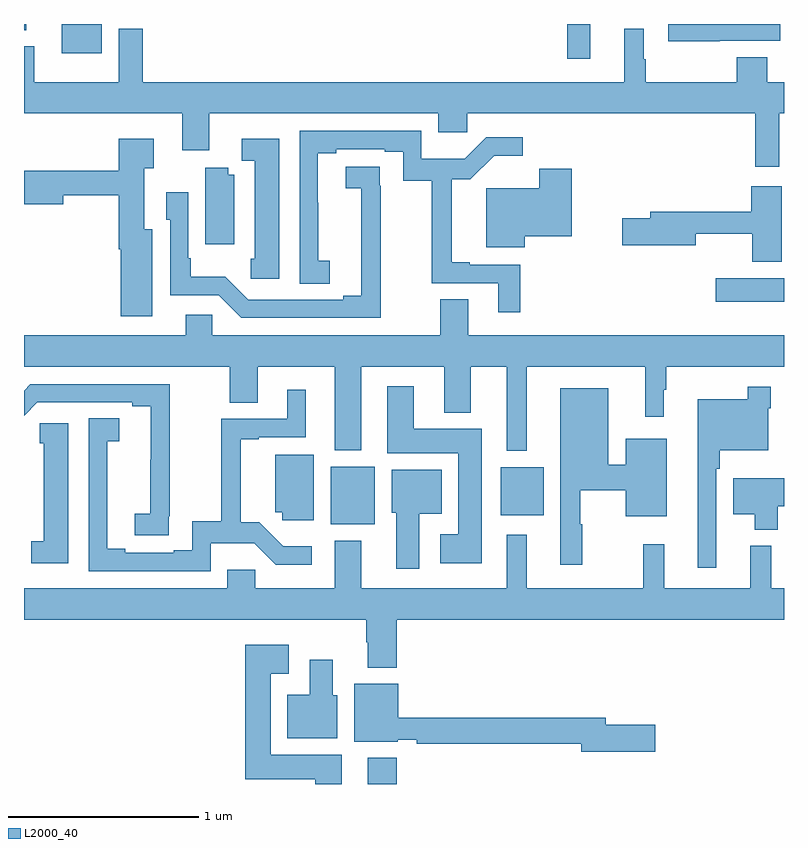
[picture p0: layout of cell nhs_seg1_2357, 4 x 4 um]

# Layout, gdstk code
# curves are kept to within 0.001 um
import gdstk
lib = gdstk.Library(unit=1e-6, precision=1e-09)
def R(c, l, rs):  # rectangles x0, y0, x1, y1
    for r in rs: c.add(gdstk.rectangle(r[:2], r[2:], *l))
def P(c, l, *ps):  # polygons
    for p in ps: c.add(gdstk.Polygon(p, *l))
L2000_40 = (2000, 40)

nhs_seg1_2357 = lib.new_cell('nhs_seg1_2357')
R(nhs_seg1_2357, L2000_40, [(240.809,552.199,240.962,552.337), (240.614,553.565,240.847,553.87), (241.508,553.613,241.735,553.867), (241.86,556.017,241.981,556.199), (239.198,556.046,239.41,556.199), (239,556.166,239.011,556.199)])
P(nhs_seg1_2357, L2000_40, [(242.663,556.11),(242.979,556.11),(242.979,556.199),(242.391,556.199),(242.391,556.109),(242.663,556.109)],
  [(242.974,555.728),(243,555.728),(243,555.892),(242.912,555.892),(242.912,556.025),(242.752,556.025),(242.752,555.892),(242.273,555.892),(242.273,556.013),(242.263,556.013),(242.263,556.174),(242.159,556.174),(242.159,555.892),(239.624,555.892),(239.624,556.174),(239.498,556.174),(239.498,555.892),(239.053,555.892),(239.053,556.081),(239,556.081),(239,555.728),(239.834,555.728),(239.834,555.534),(239.974,555.534),(239.974,555.728),(241.181,555.728),(241.181,555.63),(241.333,555.63),(241.333,555.728),(242.849,555.728),(242.849,555.447),(242.974,555.447)],
  [(241.613,554.931),(241.345,554.931),(241.345,554.944),(241.25,554.944),(241.25,555.381),(241.349,555.381),(241.475,555.506),(241.624,555.506),(241.624,555.603),(241.434,555.603),(241.321,555.49),(241.092,555.49),(241.092,555.636),(240.45,555.636),(240.45,554.833),(240.61,554.833),(240.61,554.953),(240.549,554.953),(240.549,555.257),(240.547,555.257),(240.547,555.52),(240.643,555.52),(240.643,555.54),(240.899,555.54),(240.899,555.526),(240.996,555.526),(240.996,555.373),(241.147,555.373),(241.147,554.835),(241.496,554.835),(241.496,554.682),(241.613,554.682)],
  [(240.343,555.595),(240.147,555.595),(240.147,555.48),(240.215,555.48),(240.215,554.964),(240.193,554.964),(240.193,554.859),(240.343,554.859)],
  [(239.674,555.118),(239.632,555.118),(239.632,555.439),(239.683,555.439),(239.683,555.595),(239.498,555.595),(239.498,555.427),(239,555.427),(239,555.251),(239.206,555.251),(239.206,555.298),(239.498,555.298),(239.498,555.014),(239.51,555.014),(239.51,554.661),(239.674,554.661)],
  [(240.878,555.347),(240.872,555.347),(240.872,555.449),(240.693,555.449),(240.693,555.334),(240.775,555.334),(240.776,554.768),(240.68,554.768),(240.68,554.748),(240.18,554.748),(240.059,554.869),(239.878,554.869),(239.878,554.965),(239.865,554.965),(239.865,555.313),(239.748,555.313),(239.748,555.168),(239.769,555.168),(239.769,554.772),(240.024,554.772),(240.144,554.652),(240.878,554.652)],
  [(240.106,555.406),(240.074,555.406),(240.074,555.443),(239.954,555.443),(239.954,555.039),(240.106,555.039)],
  [(241.636,555.083),(241.883,555.083),(241.883,555.436),(241.712,555.436),(241.712,555.334),(241.433,555.334),(241.433,555.023),(241.636,555.023)],
  [(242.989,555.346),(242.828,555.346),(242.828,555.212),(242.297,555.212),(242.297,555.176),(242.148,555.176),(242.148,555.034),(242.536,555.034),(242.536,555.094),(242.833,555.094),(242.833,554.947),(242.989,554.947)],
  [(243,554.862),(242.862,554.862),(242.862,554.86),(242.64,554.86),(242.64,554.738),(243,554.738)],
  [(241.192,554.75),(241.192,554.56),(239.991,554.56),(239.991,554.67),(239.852,554.67),(239.852,554.56),(239,554.56),(239,554.396),(240.082,554.396),(240.082,554.206),(240.229,554.206),(240.229,554.396),(240.635,554.396),(240.635,553.955),(240.775,553.955),(240.775,554.396),(241.211,554.396),(241.211,554.153),(241.351,554.153),(241.351,554.396),(241.541,554.396),(241.541,553.952),(241.645,553.952),(241.645,554.396),(242.27,554.396),(242.27,554.133),(242.368,554.133),(242.368,554.273),(242.38,554.273),(242.38,554.396),(243,554.396),(243,554.56),(241.339,554.56),(241.339,554.75)],
  [(239.762,553.609),(239.768,553.609),(239.768,554.304),(239.034,554.304),(239,554.27),(239,554.138),(239.07,554.208),(239.57,554.208),(239.57,554.188),(239.666,554.188),(239.665,553.622),(239.583,553.622),(239.583,553.507),(239.762,553.507)],
  [(241.408,554.068),(241.051,554.068),(241.051,554.293),(240.911,554.293),(240.911,553.94),(241.286,553.94),(241.286,553.513),(241.191,553.513),(241.191,553.361),(241.408,553.361)],
  [(242.643,553.859),(242.663,553.859),(242.663,553.955),(242.916,553.955),(242.916,554.177),(242.929,554.177),(242.929,554.29),(242.808,554.29),(242.808,554.224),(242.546,554.224),(242.546,553.338),(242.643,553.338)],
  [(241.937,553.566),(241.927,553.566),(241.927,553.744),(242.168,553.744),(242.168,553.607),(242.383,553.607),(242.383,554.017),(242.168,554.017),(242.168,553.88),(242.074,553.88),(242.074,554.281),(241.823,554.281),(241.823,553.353),(241.937,553.353)],
  [(239.982,553.466),(240.211,553.466),(240.324,553.353),(240.514,553.353),(240.514,553.45),(240.365,553.45),(240.239,553.576),(240.14,553.576),(240.14,554.013),(240.235,554.013),(240.235,554.025),(240.484,554.025),(240.484,554.275),(240.386,554.275),(240.386,554.121),(240.037,554.121),(240.037,553.583),(239.886,553.583),(239.886,553.43),(239.789,553.43),(239.789,553.416),(239.533,553.416),(239.533,553.436),(239.437,553.436),(239.437,553.699),(239.439,553.699),(239.439,554.003),(239.5,554.003),(239.5,554.123),(239.34,554.123),(239.34,553.32),(239.982,553.32)],
  [(239.233,554.098),(239.083,554.098),(239.083,553.992),(239.105,553.992),(239.105,553.476),(239.037,553.476),(239.037,553.361),(239.233,553.361)],
  [(240.526,553.933),(240.323,553.933),(240.323,553.628),(240.36,553.628),(240.36,553.586),(240.526,553.586)],
  [(241.081,553.622),(241.198,553.622),(241.198,553.852),(240.935,553.852),(240.935,553.626),(240.959,553.626),(240.959,553.332),(241.081,553.332)],
  [(242.968,553.66),(243,553.66),(243,553.807),(242.732,553.807),(242.732,553.619),(242.846,553.619),(242.846,553.538),(242.968,553.538)],
  [(240.962,553.064),(243,553.064),(243,553.228),(242.932,553.228),(242.932,553.453),(242.822,553.453),(242.822,553.228),(242.369,553.228),(242.369,553.462),(242.259,553.462),(242.259,553.228),(241.645,553.228),(241.645,553.51),(241.541,553.51),(241.541,553.228),(240.775,553.228),(240.775,553.48),(240.635,553.48),(240.635,553.228),(240.218,553.228),(240.218,553.326),(240.071,553.326),(240.071,553.228),(239,553.228),(239,553.064),(240.802,553.064),(240.802,552.944),(240.809,552.944),(240.809,552.812),(240.962,552.812)],
  [(240.673,552.352),(240.298,552.352),(240.298,552.779),(240.394,552.779),(240.394,552.931),(240.164,552.931),(240.164,552.224),(240.533,552.224),(240.533,552.199),(240.673,552.199)],
  [(240.649,552.666),(240.625,552.666),(240.625,552.853),(240.503,552.853),(240.503,552.67),(240.386,552.67),(240.386,552.44),(240.649,552.44)],
  [(242.323,552.512),(242.062,552.512),(242.062,552.548),(240.97,552.548),(240.97,552.727),(240.737,552.727),(240.737,552.422),(240.966,552.422),(240.966,552.432),(241.066,552.432),(241.066,552.412),(241.934,552.412),(241.934,552.37),(242.323,552.37)])

lib.write_gds('nhs_seg1_2357.gds')
